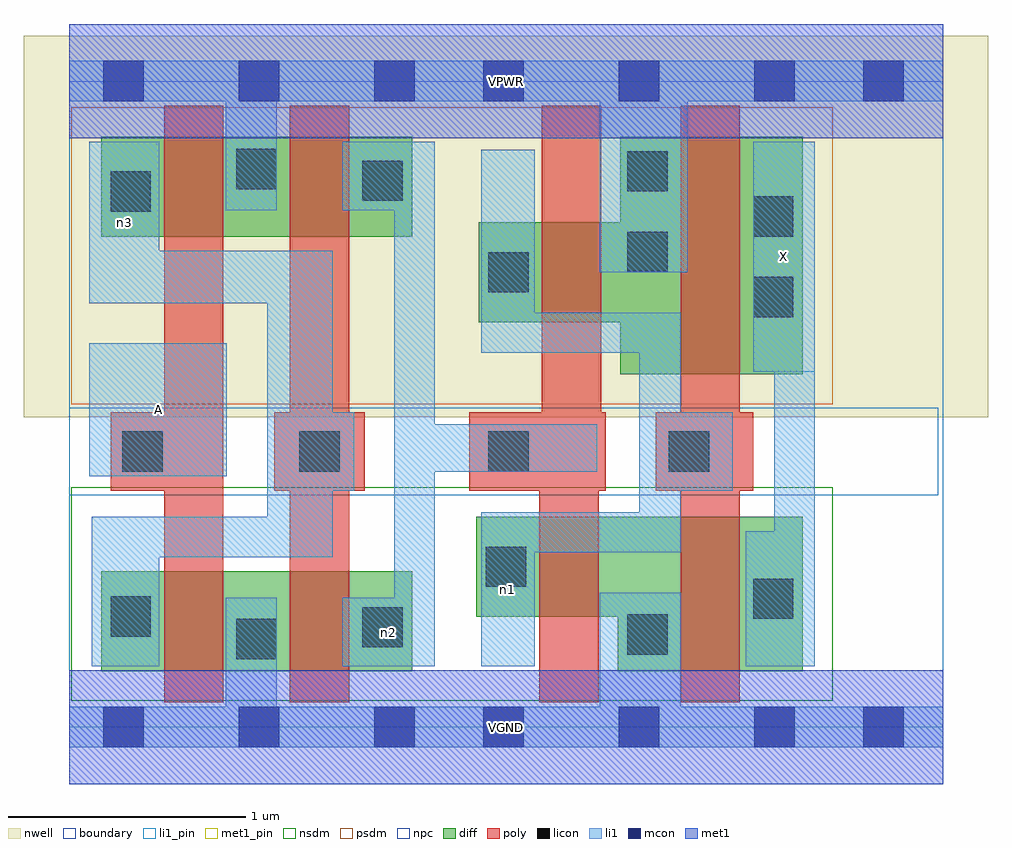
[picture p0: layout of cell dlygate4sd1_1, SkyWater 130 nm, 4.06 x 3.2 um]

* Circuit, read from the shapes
.subckt dlygate4sd1_1 A VGND VPWR X n1 n2 n3
XM1 VGND A n3 VSUBS sky130_fd_pr__nfet_01v8 w=0.42 l=0.25
XM2 n2 n3 VGND VSUBS sky130_fd_pr__nfet_01v8 w=0.42 l=0.25
XM3 VGND n2 n1 VSUBS sky130_fd_pr__nfet_01v8 w=0.42 l=0.25
XM4 X n1 VGND VSUBS sky130_fd_pr__nfet_01v8 w=0.65 l=0.25
XM5 VPWR A n3 n4 sky130_fd_pr__pfet_01v8 w=0.42 l=0.25
XM6 n2 n3 VPWR n4 sky130_fd_pr__pfet_01v8 w=0.42 l=0.25
XM7 VPWR n2 n1 n4 sky130_fd_pr__pfet_01v8 w=0.42 l=0.25
XM8 X n1 VPWR n4 sky130_fd_pr__pfet_01v8 w=1 l=0.25
.ends

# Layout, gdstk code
import gdstk
lib = gdstk.Library(unit=1e-6, precision=1e-09)
def R(c, l, rs):  # rectangles x0, y0, x1, y1
    for r in rs: c.add(gdstk.rectangle(r[:2], r[2:], *l))
def A(c, l, x, y, w, h, nx, ny, dx, dy):  # array of equal rectangles
    R(c, l, [(x+i*dx, y+j*dy, x+i*dx+w, y+j*dy+h) for i in range(nx) for j in range(ny)])
nwell = (64, 20)
diff = (65, 20)
poly = (66, 20)
licon = (66, 44)
li1_pin = (67, 16)
li1 = (67, 20)
mcon = (67, 44)
met1_pin = (68, 16)
met1 = (68, 20)
nsdm = (93, 44)
psdm = (94, 20)
npc = (95, 20)
boundary = (235, 4)

dlygate4sd1_1 = lib.new_cell('dlygate4sd1_1')
R(dlygate4sd1_1, nwell, [(-0.19,1.305,3.87,2.91), (0,1.305,3.68,2.91)])
R(dlygate4sd1_1, diff, [(0.135,0.235,1.445,0.655), (2.31,0.235,3.09,0.885), (1.715,0.465,3.09,0.885), (2.32,1.485,3.09,2.485), (1.725,1.705,3.09,2.125), (0.135,2.065,1.445,2.485)])
R(dlygate4sd1_1, poly, [(0.4,0.105,0.65,2.615), (0.93,0.105,1.18,2.615), (1.98,0.105,2.23,1.325), (2.575,0.105,2.825,2.615), (0.175,0.995,0.65,1.325), (0.865,0.995,1.245,1.325), (1.685,0.995,2.26,1.325), (1.99,0.995,2.24,2.615), (2.47,0.995,2.88,1.325)])
R(dlygate4sd1_1, licon, [(0.705,0.285,0.875,0.455), (2.35,0.305,2.52,0.475), (1.235,0.335,1.405,0.505), (0.175,0.38,0.345,0.55), (2.88,0.455,3.05,0.625), (1.755,0.59,1.925,0.76), (0.225,1.075,0.395,1.245), (0.97,1.075,1.14,1.245), (1.765,1.075,1.935,1.245), (2.525,1.075,2.695,1.245), (2.88,1.725,3.05,1.895), (1.765,1.83,1.935,2), (2.35,1.915,2.52,2.085), (2.88,2.065,3.05,2.235), (0.175,2.17,0.345,2.34), (1.235,2.215,1.405,2.385), (2.35,2.255,2.52,2.425), (0.705,2.265,0.875,2.435)])
R(dlygate4sd1_1, li1_pin, [(0.085,1.055,0.665,1.615), (2.88,1.495,3.14,2.465)])
R(dlygate4sd1_1, li1, [(0,-0.085,3.68,0.085), (0.66,-0.085,0.875,0.545), (2.235,-0.085,2.575,0.565), (0.095,0.255,0.38,0.885), (1.15,0.255,1.54,0.545), (1.37,0.255,1.54,2.465), (1.735,0.255,1.96,0.905), (2.85,0.255,3.14,0.825), (2.97,0.255,3.14,2.465), (0.095,0.715,1.11,0.885), (0.835,0.715,1.11,2.005), (1.735,0.735,2.575,0.905), (2.4,0.735,2.575,1.745), (0.835,0.995,1.2,1.325), (2.4,0.995,2.795,1.325), (0.085,1.055,0.665,1.615), (1.37,1.075,2.225,1.275), (2.88,1.495,3.14,2.465), (1.735,1.575,2.575,1.745), (1.735,1.575,1.96,2.43), (0.085,1.785,0.38,2.465), (0.085,1.785,1.11,2.005), (2.235,1.915,2.605,2.805), (0.66,2.175,0.875,2.805), (1.15,2.175,1.54,2.465), (0,2.635,3.68,2.805)])
A(dlygate4sd1_1, mcon, 0.145, -0.085, 0.17, 0.17, 3, 2, 0.57, 2.72)
A(dlygate4sd1_1, mcon, 1.745, -0.085, 0.17, 0.17, 3, 2, 0.57, 2.72)
R(dlygate4sd1_1, mcon, [(3.345,-0.085,3.515,0.085), (3.345,2.635,3.515,2.805)])
R(dlygate4sd1_1, met1_pin, [(0,-0.24,3.68,0.24), (0,2.48,3.68,2.96)])
R(dlygate4sd1_1, met1, [(0,-0.24,3.68,0.24), (0,2.48,3.68,2.96)])
R(dlygate4sd1_1, nsdm, [(0.01,0.11,3.215,1.01)])
R(dlygate4sd1_1, psdm, [(0.01,1.36,3.215,2.61)])
R(dlygate4sd1_1, npc, [(0,0.975,3.66,1.345)])
R(dlygate4sd1_1, boundary, [(0,0,3.68,2.72)])
dlygate4sd1_1.add(gdstk.Label('A', (0.375,1.335), layer=67, texttype=5))
dlygate4sd1_1.add(gdstk.Label('X', (3.01,1.98), layer=67, texttype=5))
dlygate4sd1_1.add(gdstk.Label('n1', (1.847,0.58), layer=67, texttype=5))
dlygate4sd1_1.add(gdstk.Label('n3', (0.232,2.125), layer=67, texttype=5))
dlygate4sd1_1.add(gdstk.Label('n2', (1.345,0.4), layer=67, texttype=5))
dlygate4sd1_1.add(gdstk.Label('VPWR', (1.84,2.72), layer=68, texttype=5))
dlygate4sd1_1.add(gdstk.Label('VGND', (1.84,0), layer=68, texttype=5))
dlygate4sd1_1.add(gdstk.Label('A', (0.375,1.335), layer=67, texttype=16))
dlygate4sd1_1.add(gdstk.Label('X', (3.01,1.98), layer=67, texttype=16))
dlygate4sd1_1.add(gdstk.Label('VPWR', (1.84,2.72), layer=68, texttype=16))
dlygate4sd1_1.add(gdstk.Label('VGND', (1.84,0), layer=68, texttype=16))

lib.write_gds('dlygate4sd1_1.gds')
